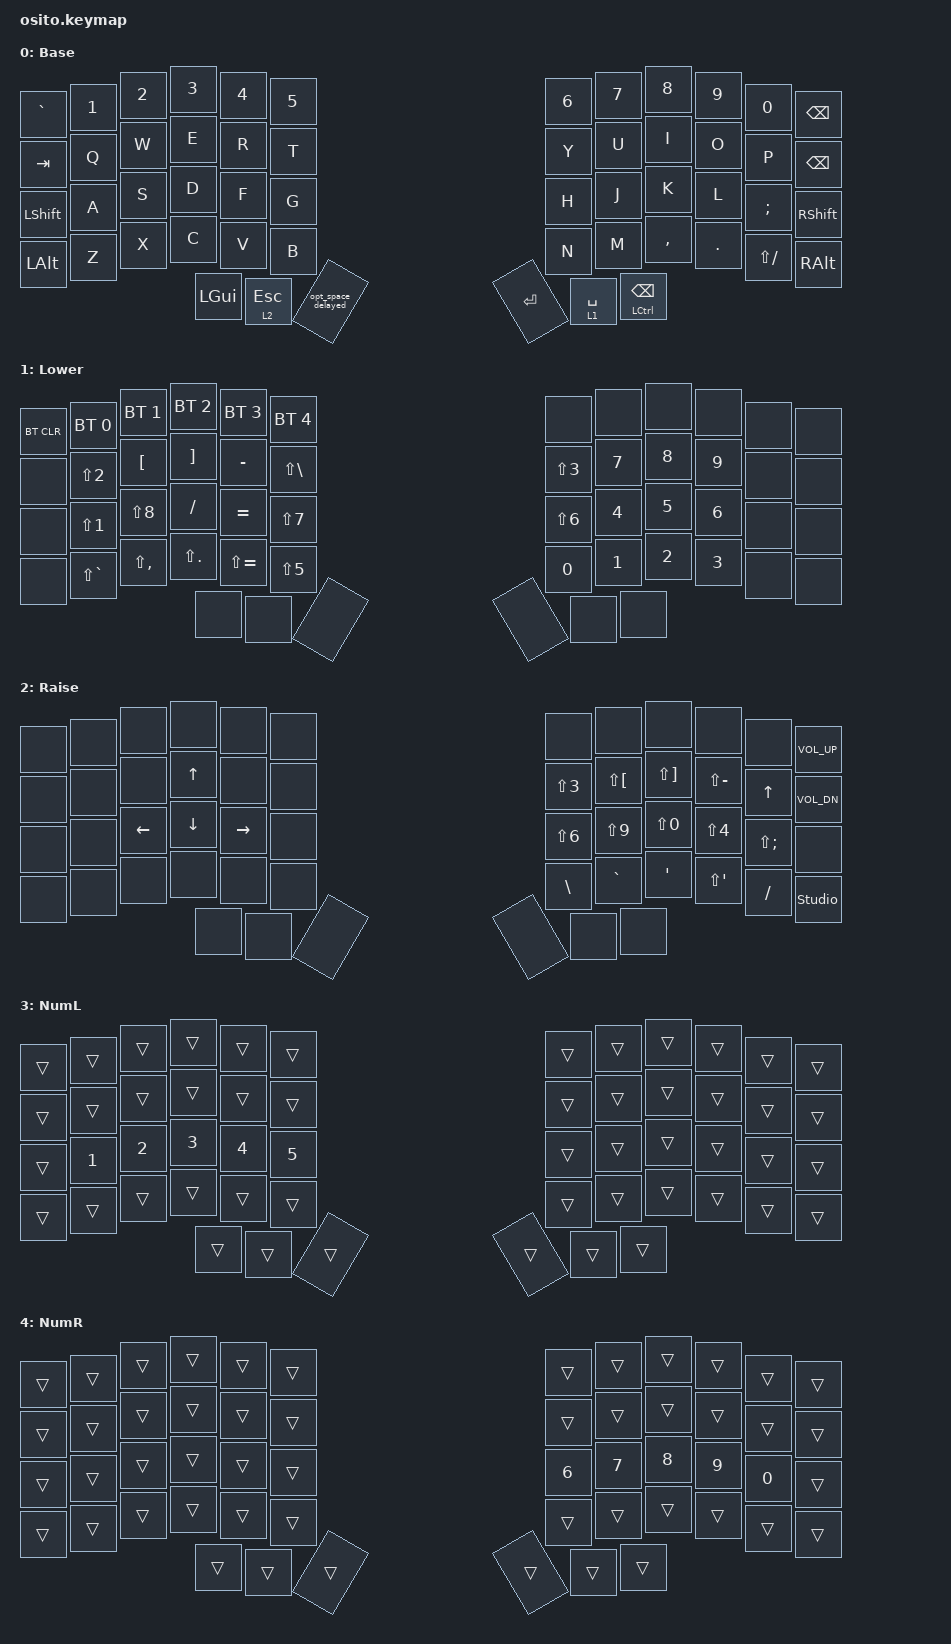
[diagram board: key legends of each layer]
/*
 * SPDX-License-Identifier: MIT
 */

#include <behaviors.dtsi>
#include <dt-bindings/zmk/keys.h>
#include <dt-bindings/zmk/bt.h>

/ {
    macros {
        opt_space_delayed: opt_space_delayed {
            compatible = "zmk,behavior-macro";
            #binding-cells = <0>;
            wait-ms = <0>;
            tap-ms = <0>;
            bindings
                = <&macro_press &kp LALT>
                , <&macro_wait_time 40>
                , <&macro_press &kp SPACE>
                , <&macro_wait_time 70>
                , <&macro_release &kp SPACE>
                , <&macro_wait_time 40>
                , <&macro_release &kp LALT>
                ;
        };
    };

    behaviors {
        lt_spc: layer_tap_space {
            compatible = "zmk,behavior-hold-tap";
            #binding-cells = <2>;
            flavor = "hold-preferred";
            tapping-term-ms = <200>;
            retro-tap;
            bindings = <&mo>, <&kp>;
        };


        ht_kk: hold_tap_kp_kp {
            compatible = "zmk,behavior-hold-tap";
            #binding-cells = <2>;
            flavor = "hold-preferred";
            tapping-term-ms = <200>;
            retro-tap;
            bindings = <&kp>, <&kp>;
        };
    };


    combos {
        compatible = "zmk,combos";

        combo_esc {
            timeout-ms = <50>;
            key-positions = <26 27>;
            bindings = <&kp ESC>;
            layers = <0>;
        };
    };


    keymap {
        compatible = "zmk,keymap";

        base_layer {
            display-name = "Base";
            bindings = <
&kp GRAVE  &kp N1      &kp N2      &kp N3      &kp N4      &kp N5                     &kp N6      &kp N7      &kp N8      &kp N9      &kp N0      &kp BSPC
&kp TAB    &kp Q       &kp W       &kp E       &kp R       &kp T                      &kp Y       &kp U       &kp I       &kp O       &kp P       &kp BSPC
&kp LSHFT  &kp A       &kp S   &kp D       &kp F       &kp G                      &kp H       &kp J       &kp K       &kp L   &kp SEMI    &kp RSHFT
&kp LALT   &kp Z       &kp X       &kp C       &kp V       &kp B                      &kp N       &kp M       &kp COMMA   &kp DOT     &kp LS(FSLH) &kp RALT
                                        &kp LGUI  &lt_spc 2 ESC    &opt_space_delayed        &kp RET     &lt_spc 1 SPACE   &ht_kk LCTRL BSPC
            >;
        };

        lower_layer {
            display-name = "Lower";
            bindings = <
&bt BT_CLR &bt BT_SEL 0 &bt BT_SEL 1  &bt BT_SEL 2  &bt BT_SEL 3  &bt BT_SEL 4          &none       &none       &none       &none       &none       &none
&none      &kp LS(N2)   &kp LBKT      &kp RBKT      &kp MINUS     &kp LS(BSLH)          &kp LS(N3)  &kp N7      &kp N8      &kp N9      &none       &none
&none      &kp LS(N1)   &kp LS(N8)    &kp FSLH      &kp EQUAL     &kp LS(N7)            &kp LS(N6)  &kp N4      &kp N5      &kp N6      &none       &none
&none      &kp LS(GRAVE) &kp LS(COMMA) &kp LS(DOT)  &kp LS(EQUAL) &kp LS(N5)            &kp N0      &kp N1      &kp N2      &kp N3      &none       &none
                                        &none        &none         &none                  &none       &none       &none
            >;
        };

        raise_layer {
            display-name = "Raise";
            bindings = <
&none      &none        &none         &none         &none         &none                  &none       &none         &none         &none       &none       &kp C_VOL_UP
&none      &none        &none         &kp UP        &none         &none                  &kp LS(N3)  &kp LS(LBKT)  &kp LS(RBKT)  &kp LS(MINUS) &kp UP     &kp C_VOL_DN
&none      &none        &kp LEFT      &kp DOWN      &kp RIGHT     &none                  &kp LS(N6)  &kp LS(N9)    &kp LS(N0)    &kp LS(N4)  &kp LS(SEMI) &none
&none      &none        &none         &none         &none         &none                  &kp BSLH    &kp GRAVE     &kp SQT       &kp LS(SQT) &kp FSLH    &studio_unlock
                                        &none        &none         &none                  &none       &none       &none
            >;
        };

        num_left_layer {
            display-name = "NumL";
            bindings = <
&trans     &trans       &trans        &trans        &trans        &trans                 &trans      &trans        &trans        &trans      &trans      &trans
&trans     &trans       &trans        &trans        &trans        &trans                 &trans      &trans        &trans        &trans      &trans      &trans
&trans     &kp N1       &kp N2        &kp N3        &kp N4        &kp N5                 &trans      &trans        &trans        &trans      &trans      &trans
&trans     &trans       &trans        &trans        &trans        &trans                 &trans      &trans        &trans        &trans      &trans      &trans
                                        &trans       &trans        &trans                 &trans      &trans      &trans
            >;
        };

        num_right_layer {
            display-name = "NumR";
            bindings = <
&trans     &trans       &trans        &trans        &trans        &trans                 &trans      &trans        &trans        &trans      &trans      &trans
&trans     &trans       &trans        &trans        &trans        &trans                 &trans      &trans        &trans        &trans      &trans      &trans
&trans     &trans       &trans        &trans        &trans        &trans                 &kp N6      &kp N7        &kp N8        &kp N9      &kp N0      &trans
&trans     &trans       &trans        &trans        &trans        &trans                 &trans      &trans        &trans        &trans      &trans      &trans
                                        &trans       &trans        &trans                 &trans      &trans      &trans
            >;
        };
    };
};
